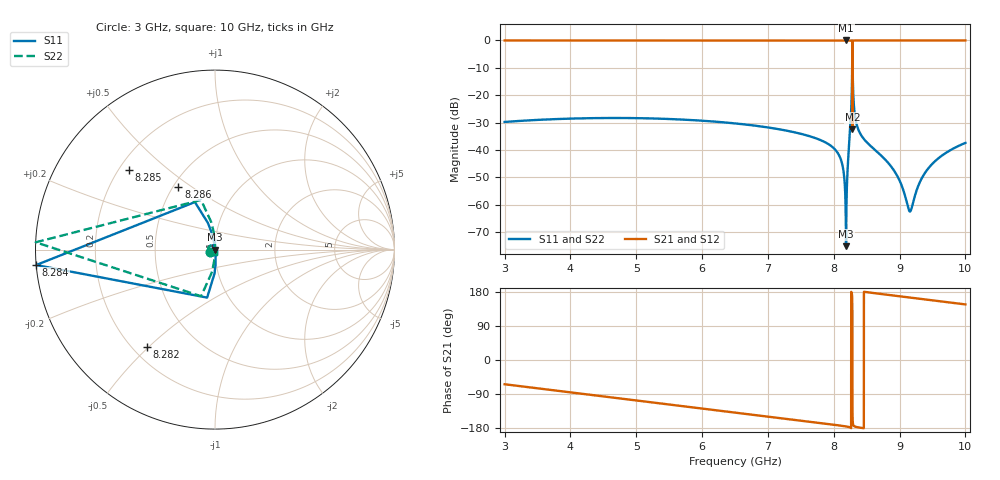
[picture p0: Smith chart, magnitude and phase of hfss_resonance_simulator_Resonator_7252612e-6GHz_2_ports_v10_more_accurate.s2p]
! Touchstone file exported from HFSS 2024.1.0
!  File:  C:/Users/phobo/Documents/Ansoft/hfss_resonance_simulator.aedt
!  Generated:  09:34:57 AM May 29, 2025
!  Design:  Resonator_7252612e-6GHz_2_ports_v10
!  Project:  hfss_resonance_simulator
!  Setup:  Setup1
!  Solution:  Sweep
# GHz S MA R 50.000000
! Terminal data exported
! Port[1] = 1
! Port[2] = 2
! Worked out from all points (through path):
!   5001 points, 3 GHz to 10 GHz, reference 50 ohm
!   highest |S21| = 0.00 dB at 8.187 GHz (marker M1); lowest = -32.4 dB at 8.284 GHz (marker M2)
!   lowest |S11| = -75.1 dB at 8.187 GHz (marker M3), VSWR 1.00, Z = 50 - j0.00032 ohm
!   |S11| at or under -10 dB: start of sweep to 8.28 GHz; 8.287 GHz to end of sweep
!   |S22| runs from -75.1 to 0.0 dB; largest |S21 - S12| = 0.00074
!   S11 on the Smith chart (normalised r, x): 3 GHz: 0.94, -0.03; 8.282 GHz: 0.26, -0.49; 8.284 GHz: 0.00, -0.04; 8.285 GHz: 0.24, +0.37; 8.286 GHz: 0.53, +0.45; 10 GHz: 0.98, -0.02
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3  0.03252 -153.7  0.9995 -64.0  0.9995 -64.0  0.03252 -154.3
! Gamma 0 0 0 0
! Port Impedance 50 0 50 0
4.1676  0.03786 -178.5  0.9993 -88.9  0.9993 -88.9  0.03791 -179.4
5.3338  0.03742 156.8  0.9993 -113.8  0.9993 -113.8  0.0374 155.6
6.5  0.03062 132.2  0.9995 -138.6  0.9995 -138.6  0.03062 130.5
7.6676  0.01735 107.9  0.9998 -163.6  0.9998 -163.6  0.01735 104.8
8.0526  0.009138 99.8  1 -172.0  1 -172.0  0.009138 96.2
8.1184  0.006155 97.9  1 -173.6  1 -173.6  0.006155 95.0
8.1632  0.002802 95.0  1 -174.7  1 -174.7  0.002802 95.7
8.187  0.0001757 -1.0  1 -175.3  1 -175.3  0.0001757 -169.6
8.2122  0.00484 -80.7  1 -176.1  1 -176.1  0.00484 -91.5
8.2556  0.03198 -84.7  0.9995 -178.6  0.9995 -178.6  0.03198 -92.4
8.2822  0.6608 -125.0  0.7507 141.4  0.7507 141.4  0.6607 -132.3
8.2836  0.9997 -175.1  0.02395 -88.7  0.02395 -88.7  0.9997 177.7
8.285  0.6546 137.2  0.7559 -136.4  0.7559 -136.4  0.6546 129.9
8.2864  0.4051 120.1  0.9143 -153.5  0.9143 -153.5  0.4051 112.9
8.3088  0.05928 99.1  0.9982 -174.4  0.9982 -174.4  0.05928 92.0
8.348  0.02937 96.6  0.9996 -177.0  0.9996 -177.0  0.02937 89.5
8.4068  0.01951 95.0  0.9998 -178.7  0.9998 -178.7  0.01951 87.6
8.8338  0.005698 89.7  1 171.7  1 171.7  0.005698 73.7
9.16  0.0007552 168.0  1 164.7  1 164.7  0.0007552 -18.6
9.4484  0.004812 -120.4  1 158.5  1 158.5  0.004812 -102.6
10  0.01349 -126.4  0.9999 146.7  0.9999 146.7  0.01349 -120.2
